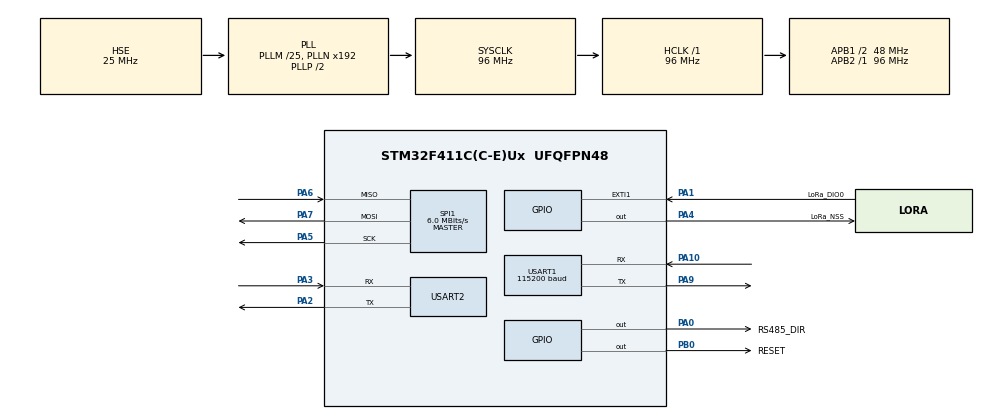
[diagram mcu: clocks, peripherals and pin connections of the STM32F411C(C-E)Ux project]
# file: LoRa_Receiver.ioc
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Mcu.Family=STM32F4
Mcu.Name=STM32F411C(C-E)Ux
Mcu.Package=UFQFPN48
NVIC.EXTI1_IRQn=true\:0\:0\:false\:false\:true\:true\:true\:true
NVIC.PriorityGroup=NVIC_PRIORITYGROUP_4
NVIC.SPI1_IRQn=true\:0\:0\:false\:false\:true\:true\:true\:true
NVIC.USART1_IRQn=true\:0\:0\:false\:false\:true\:true\:true\:true
NVIC.USART2_IRQn=true\:0\:0\:false\:false\:true\:true\:true\:true
PA0-WKUP.GPIO_Label=RS485_DIR
PA0-WKUP.Signal=GPIO_Output
PA1.GPIO_Label=LoRa_DIO0
PA1.GPIO_PuPd=GPIO_NOPULL
PA1.Signal=GPXTI1
PA10.Mode=Asynchronous
PA10.Signal=USART1_RX
PA2.Mode=Asynchronous
PA2.Signal=USART2_TX
PA3.Mode=Asynchronous
PA3.Signal=USART2_RX
PA4.GPIO_Label=LoRa_NSS
PA4.Signal=GPIO_Output
PA5.Mode=Full_Duplex_Master
PA5.Signal=SPI1_SCK
PA6.Mode=Full_Duplex_Master
PA6.Signal=SPI1_MISO
PA7.Mode=Full_Duplex_Master
PA7.Signal=SPI1_MOSI
PA9.Mode=Asynchronous
PA9.Signal=USART1_TX
PB0.GPIO_Label=RESET
PB0.Signal=GPIO_Output
PH0\ -\ OSC_IN.Mode=HSE-External-Oscillator
PH0\ -\ OSC_IN.Signal=RCC_OSC_IN
PH1\ -\ OSC_OUT.Mode=HSE-External-Oscillator
PH1\ -\ OSC_OUT.Signal=RCC_OSC_OUT
ProjectManager.HeapSize=0x200
ProjectManager.StackSize=0x400
ProjectManager.TargetToolchain=STM32CubeIDE
RCC.48MHZClocksFreq_Value=48000000
RCC.AHBFreq_Value=96000000
RCC.APB1CLKDivider=RCC_HCLK_DIV2
RCC.APB1Freq_Value=48000000
RCC.APB1TimFreq_Value=96000000
RCC.APB2Freq_Value=96000000
RCC.APB2TimFreq_Value=96000000
RCC.CortexFreq_Value=96000000
RCC.HCLKFreq_Value=96000000
RCC.HSE_VALUE=25000000
RCC.HSI_VALUE=16000000
RCC.LSE_VALUE=32768
RCC.PLLM=25
RCC.PLLSourceVirtual=RCC_PLLSOURCE_HSE
RCC.SYSCLKFreq_VALUE=96000000
RCC.SYSCLKSource=RCC_SYSCLKSOURCE_PLLCLK
RCC.VCOOutputFreq_Value=192000000
SPI1.BaudRatePrescaler=SPI_BAUDRATEPRESCALER_16
SPI1.CalculateBaudRate=6.0 MBits/s
SPI1.Direction=SPI_DIRECTION_2LINES
SPI1.Mode=SPI_MODE_MASTER
SPI1.VirtualType=VM_MASTER
USART1.BaudRate=115200
USART1.VirtualMode=VM_ASYNC
USART2.VirtualMode=VM_ASYNC
board=custom

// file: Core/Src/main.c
/* USER CODE BEGIN Header */
/**
  ******************************************************************************
  * @file           : main.c
  * @brief          : Main program body
  ******************************************************************************
  * @attention
  *
  * Copyright (c) 2026 STMicroelectronics.
  * All rights reserved.
  *
  * This software is licensed under terms that can be found in the LICENSE file
  * in the root directory of this software component.
  * If no LICENSE file comes with this software, it is provided AS-IS.
  *
  ******************************************************************************
  */
/* USER CODE END Header */
#include "main.h"

/* USER CODE BEGIN Includes */
#include "LoRa.h"
#include "modbus_slave.h"
#include <string.h>
#include <stdio.h>
/* USER CODE END Includes */

SPI_HandleTypeDef hspi1;

UART_HandleTypeDef huart1;
UART_HandleTypeDef huart2;

/* USER CODE BEGIN PV */
LoRa myLoRa;
uint8_t read_data[128];
int RSSI;
volatile uint8_t lora_rx_flag = 0; // Flag to indicate data was received

// -- Modbus Variables --
uint8_t modbus_rx_buf[256];
volatile uint16_t modbus_rx_idx = 0;
volatile uint8_t modbus_frame_ready = 0;

/* USER CODE END PV */

void SystemClock_Config(void);
static void MX_GPIO_Init(void);
static void MX_SPI1_Init(void);
static void MX_USART1_UART_Init(void);
static void MX_USART2_UART_Init(void);

int main(void)
{

  /* MCU Configuration--------------------------------------------------------*/

  /* Reset of all peripherals, Initializes the Flash interface and the Systick. */
  HAL_Init();

  /* Configure the system clock */
  SystemClock_Config();

  /* Initialize all configured peripherals */
  MX_GPIO_Init();
  MX_SPI1_Init();
  MX_USART1_UART_Init();
  MX_USART2_UART_Init();

  /* USER CODE BEGIN 2 */
    // 1. Put MAX3485 into Receive Mode: PA0 = LOW
    HAL_GPIO_WritePin(GPIOA, GPIO_PIN_0, GPIO_PIN_RESET);
    // 2. Start listening for the first byte of Modbus frame via USART2 Interrupt
    HAL_UART_Receive_IT(&huart2, &modbus_rx_buf[modbus_rx_idx], 1);

    // 3. Enable the Idle Line interrupt for USART2 to detect end of Modbus frame
    __HAL_UART_ENABLE_IT(&huart2, UART_IT_IDLE);

  /* USER CODE BEGIN 2 */
   myLoRa = newLoRa();
   myLoRa.hSPIx = &hspi1;
   myLoRa.CS_port = LoRa_NSS_GPIO_Port;
   myLoRa.CS_pin = LoRa_NSS_Pin;
   myLoRa.reset_port = RESET_GPIO_Port;
   myLoRa.reset_pin = RESET_Pin;
   myLoRa.DIO0_port = LoRa_DIO0_GPIO_Port;
   myLoRa.DIO0_pin = LoRa_DIO0_Pin;
   myLoRa.frequency = 865;                  // default = 433 MHz
   myLoRa.spredingFactor = SF_12;           // default = SF_7
   myLoRa.bandWidth = BW_125KHz;            // default = BW_125KHz
   myLoRa.crcRate = CR_4_5;                 // default = CR_4_5
   myLoRa.power = POWER_20db;               // default = 20db
   myLoRa.overCurrentProtection = 120;      // default = 100 mA
   myLoRa.preamble = 10;                    // default = 8;

   LoRa_reset(&myLoRa);

    if(LoRa_init(&myLoRa) == LORA_OK){
      HAL_UART_Transmit(&huart1, (uint8_t *)"LoRa Receiver Init Success\r\n", 28, 100);
    } else {
      HAL_UART_Transmit(&huart1, (uint8_t *)"LoRa Receiver Init error\r\n", 26, 100);
    }
    // START CONTINUOUS RECEIVING -----------------------------------
    LoRa_startReceiving(&myLoRa);
  /* USER CODE END 2 */

  /* Infinite loop */
  /* USER CODE BEGIN WHILE */

while (1)

{
    // CHECKS IF PACKET IS RECEIVED USING EXTI INTERRUPT FLAG
     if (lora_rx_flag == 1) {
         lora_rx_flag = 0;

         memset(read_data, 0, sizeof(read_data)); // Clear buffer

         uint8_t size = LoRa_receive(&myLoRa, read_data, 128);

         if (size > 0) {
             char uart_buf[150];
             int rssi = LoRa_getRSSI(&myLoRa);
             sprintf(uart_buf, "Received: %s | RSSI: %d dBm\r\n", read_data, rssi);
             HAL_UART_Transmit(&huart1, (uint8_t*)uart_buf, strlen(uart_buf), 100);

             // ---> MODBUS MAPPING LOGIC <---
                         // Assuming you receive up to 20 bytes of pure raw data that you want to share.
                         // We pack the 20 bytes into our 10 Modbus Registers (16-bits each)
            int regs_to_fill = size / 2;
            if (regs_to_fill > NUM_HOLDING_REGISTERS) {
                regs_to_fill = NUM_HOLDING_REGISTERS; // Protect against overflow
            }
            for (int i = 0; i < regs_to_fill; i++) {
            // Merge two 8-bit bytes into one 16-bit register
            Modbus_Holding_Registers[i] = (read_data[i*2] << 8) | read_data[(i*2)+1];
         }
     }

}
// --- 2. HANDLE MODBUS PROCESSING ---
      if (modbus_frame_ready == 1) {
          modbus_frame_ready = 0; // Clear flag
   // Process the received command (this function will automatically send the response)
    // It is located inside modbus_slave.c
          Process_Modbus_Request(modbus_rx_buf, modbus_rx_idx, &huart2);

   // Reset buffer mechanics for next frame
          modbus_rx_idx = 0;
          HAL_UART_Receive_IT(&huart2, &modbus_rx_buf[modbus_rx_idx], 1);
     }
    /* USER CODE END WHILE */

 }
}

void SystemClock_Config(void)
{
  RCC_OscInitTypeDef RCC_OscInitStruct = {0};
  RCC_ClkInitTypeDef RCC_ClkInitStruct = {0};

  /** Configure the main internal regulator output voltage
  */
  __HAL_RCC_PWR_CLK_ENABLE();
  __HAL_PWR_VOLTAGESCALING_CONFIG(PWR_REGULATOR_VOLTAGE_SCALE1);

  /** Initializes the RCC Oscillators according to the specified parameters
  * in the RCC_OscInitTypeDef structure.
  */
  RCC_OscInitStruct.OscillatorType = RCC_OSCILLATORTYPE_HSE;
  RCC_OscInitStruct.HSEState = RCC_HSE_ON;
  RCC_OscInitStruct.PLL.PLLState = RCC_PLL_ON;
  RCC_OscInitStruct.PLL.PLLSource = RCC_PLLSOURCE_HSE;
  RCC_OscInitStruct.PLL.PLLM = 25;
  RCC_OscInitStruct.PLL.PLLN = 192;
  RCC_OscInitStruct.PLL.PLLP = RCC_PLLP_DIV2;
  RCC_OscInitStruct.PLL.PLLQ = 4;
  if (HAL_RCC_OscConfig(&RCC_OscInitStruct) != HAL_OK)
  {
    Error_Handler();
  }

  /** Initializes the CPU, AHB and APB buses clocks
  */
  RCC_ClkInitStruct.ClockType = RCC_CLOCKTYPE_HCLK|RCC_CLOCKTYPE_SYSCLK
                              |RCC_CLOCKTYPE_PCLK1|RCC_CLOCKTYPE_PCLK2;
  RCC_ClkInitStruct.SYSCLKSource = RCC_SYSCLKSOURCE_PLLCLK;
  RCC_ClkInitStruct.AHBCLKDivider = RCC_SYSCLK_DIV1;
  RCC_ClkInitStruct.APB1CLKDivider = RCC_HCLK_DIV2;
  RCC_ClkInitStruct.APB2CLKDivider = RCC_HCLK_DIV1;

  if (HAL_RCC_ClockConfig(&RCC_ClkInitStruct, FLASH_LATENCY_3) != HAL_OK)
  {
    Error_Handler();
  }
}

static void MX_SPI1_Init(void)
{

  /* SPI1 parameter configuration*/
  hspi1.Instance = SPI1;
  hspi1.Init.Mode = SPI_MODE_MASTER;
  hspi1.Init.Direction = SPI_DIRECTION_2LINES;
  hspi1.Init.DataSize = SPI_DATASIZE_8BIT;
  hspi1.Init.CLKPolarity = SPI_POLARITY_LOW;
  hspi1.Init.CLKPhase = SPI_PHASE_1EDGE;
  hspi1.Init.NSS = SPI_NSS_SOFT;
  hspi1.Init.BaudRatePrescaler = SPI_BAUDRATEPRESCALER_16;
  hspi1.Init.FirstBit = SPI_FIRSTBIT_MSB;
  hspi1.Init.TIMode = SPI_TIMODE_DISABLE;
  hspi1.Init.CRCCalculation = SPI_CRCCALCULATION_DISABLE;
  hspi1.Init.CRCPolynomial = 10;
  if (HAL_SPI_Init(&hspi1) != HAL_OK)
  {
    Error_Handler();
  }

}

static void MX_USART1_UART_Init(void)
{

  huart1.Instance = USART1;
  huart1.Init.BaudRate = 115200;
  huart1.Init.WordLength = UART_WORDLENGTH_8B;
  huart1.Init.StopBits = UART_STOPBITS_1;
  huart1.Init.Parity = UART_PARITY_NONE;
  huart1.Init.Mode = UART_MODE_TX_RX;
  huart1.Init.HwFlowCtl = UART_HWCONTROL_NONE;
  huart1.Init.OverSampling = UART_OVERSAMPLING_16;
  if (HAL_UART_Init(&huart1) != HAL_OK)
  {
    Error_Handler();
  }

}

static void MX_USART2_UART_Init(void)
{

  huart2.Instance = USART2;
  huart2.Init.BaudRate = 115200;
  huart2.Init.WordLength = UART_WORDLENGTH_8B;
  huart2.Init.StopBits = UART_STOPBITS_1;
  huart2.Init.Parity = UART_PARITY_NONE;
  huart2.Init.Mode = UART_MODE_TX_RX;
  huart2.Init.HwFlowCtl = UART_HWCONTROL_NONE;
  huart2.Init.OverSampling = UART_OVERSAMPLING_16;
  if (HAL_UART_Init(&huart2) != HAL_OK)
  {
    Error_Handler();
  }

}

static void MX_GPIO_Init(void)
{
  GPIO_InitTypeDef GPIO_InitStruct = {0};

  /* GPIO Ports Clock Enable */
  __HAL_RCC_GPIOH_CLK_ENABLE();
  __HAL_RCC_GPIOA_CLK_ENABLE();
  __HAL_RCC_GPIOB_CLK_ENABLE();

  /* Configure Pin PA0 as MODBUS RS485 DIR Output */
    HAL_GPIO_WritePin(GPIOA, GPIO_PIN_0, GPIO_PIN_RESET);
    GPIO_InitStruct.Pin = GPIO_PIN_0;
    GPIO_InitStruct.Mode = GPIO_MODE_OUTPUT_PP;
    GPIO_InitStruct.Pull = GPIO_NOPULL;
    GPIO_InitStruct.Speed = GPIO_SPEED_FREQ_LOW;
    HAL_GPIO_Init(GPIOA, &GPIO_InitStruct);

  /*Configure GPIO pin Output Level */
  HAL_GPIO_WritePin(GPIOA, RS485_DIR_Pin|LoRa_NSS_Pin, GPIO_PIN_RESET);

  /*Configure GPIO pin Output Level */
  HAL_GPIO_WritePin(RESET_GPIO_Port, RESET_Pin, GPIO_PIN_RESET);

  /*Configure GPIO pins : RS485_DIR_Pin LoRa_NSS_Pin */
  GPIO_InitStruct.Pin = RS485_DIR_Pin|LoRa_NSS_Pin;
  GPIO_InitStruct.Mode = GPIO_MODE_OUTPUT_PP;
  GPIO_InitStruct.Pull = GPIO_NOPULL;
  GPIO_InitStruct.Speed = GPIO_SPEED_FREQ_LOW;
  HAL_GPIO_Init(GPIOA, &GPIO_InitStruct);

  /*Configure GPIO pin : LoRa_DIO0_Pin */
  GPIO_InitStruct.Pin = LoRa_DIO0_Pin;
  GPIO_InitStruct.Mode = GPIO_MODE_IT_RISING;
  GPIO_InitStruct.Pull = GPIO_NOPULL;
  HAL_GPIO_Init(LoRa_DIO0_GPIO_Port, &GPIO_InitStruct);

  /*Configure GPIO pin : RESET_Pin */
  GPIO_InitStruct.Pin = RESET_Pin;
  GPIO_InitStruct.Mode = GPIO_MODE_OUTPUT_PP;
  GPIO_InitStruct.Pull = GPIO_NOPULL;
  GPIO_InitStruct.Speed = GPIO_SPEED_FREQ_LOW;
  HAL_GPIO_Init(RESET_GPIO_Port, &GPIO_InitStruct);

  /* EXTI interrupt init*/
  HAL_NVIC_SetPriority(EXTI1_IRQn, 0, 0);
  HAL_NVIC_EnableIRQ(EXTI1_IRQn);

}

/* USER CODE BEGIN 4 */
void HAL_GPIO_EXTI_Callback(uint16_t GPIO_Pin) {
    if(GPIO_Pin == myLoRa.DIO0_pin) {
        lora_rx_flag = 1; // This is what wakes up your while(1) loop!
    }
}

// Automatically called when a single newly arriving byte is placed into the modbus_rx_buf array over USART2
void HAL_UART_RxCpltCallback(UART_HandleTypeDef *huart) {
    if (huart->Instance == USART2) {
        // Step forward in array for next byte
        modbus_rx_idx++;

        // Listen for next single byte
        HAL_UART_Receive_IT(&huart2, &modbus_rx_buf[modbus_rx_idx], 1);
    }
}

/* USER CODE END 4 */

void Error_Handler(void)
{
  __disable_irq();
  while (1)
  {
  }
}
